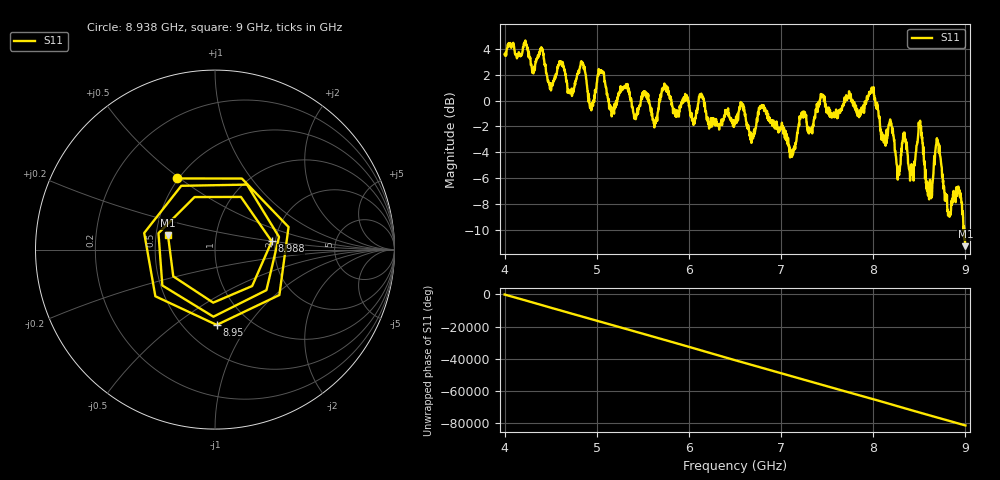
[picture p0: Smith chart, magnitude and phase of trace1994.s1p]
! Created with skrf 1.8.0 (http://scikit-rf.org).
# Hz S RI R 50.0
!freq ReS11 ImS11
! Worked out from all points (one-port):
!   1601 points, 4 GHz to 9 GHz, reference 50 ohm
!   lowest |S11| = -11.3 dB at 9 GHz (marker M1), VSWR 1.75, Z = 28.9 + j4.98 ohm
!   |S11| at or under -10 dB: 8.980548 GHz to 8.981479 GHz (930.6 kHz wide, 0.0104 % of centre); 8.988311 GHz to end of sweep
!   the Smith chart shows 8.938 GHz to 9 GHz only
!   S11 on the Smith chart (normalised r, x): 8.938 GHz: 0.49, +0.49; 8.95 GHz: 0.71, -0.73; 8.988 GHz: 1.91, +0.20; 9 GHz: 0.58, +0.10
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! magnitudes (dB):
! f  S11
! 4 GHz  3.6
! 4.5 GHz  1.3
! 4.625 GHz  2.8
! 4.725 GHz  0.6
! 4.85 GHz  2.9
! 4.938 GHz  -0.3
! 5.044 GHz  2.3
! 5.162 GHz  -1.2
! 5.25 GHz  0.7
! 5.875 GHz  -1.1
! 6.5 GHz  -1.8
! 6.684 GHz  -2.9
! 6.803 GHz  -0.4
! 7.125 GHz  -3.9
! 7.234 GHz  -0.9
! 7.75 GHz  0.2
! 7.988 GHz  0.9
! 8.269 GHz  -5.3
! 8.375 GHz  -4.2
! 8.425 GHz  -5.5
! 8.509 GHz  -1.6
! 8.603 GHz  -6.7
! 8.697 GHz  -3.0
! 8.816 GHz  -8.6
! 8.938 GHz  -6.9
! 8.95 GHz  -7.5
! 8.988 GHz  -9.9
! 9 GHz  -11.3
